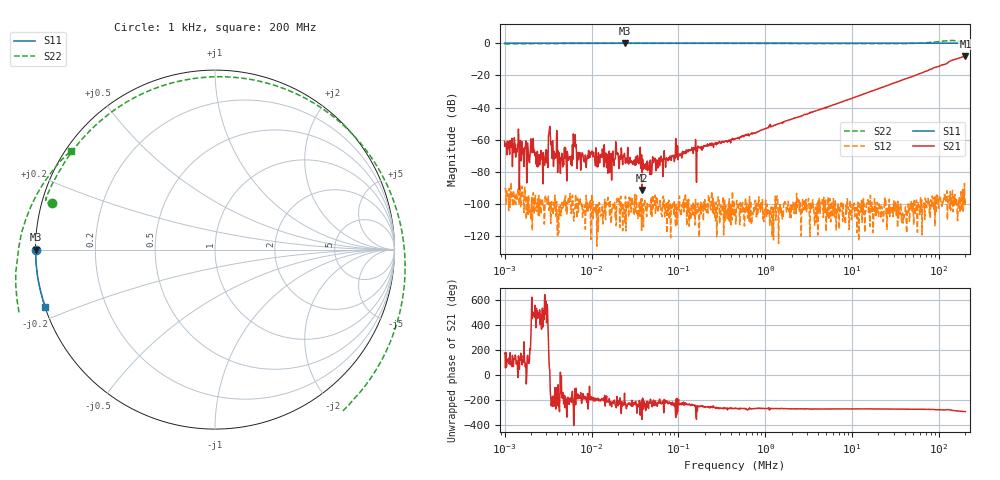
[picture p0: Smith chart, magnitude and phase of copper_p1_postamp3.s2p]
! ListType=Log
# MHZ S RI R 50
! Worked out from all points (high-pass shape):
!   1000 points, 1 kHz to 200 MHz, reference 50 ohm
!   highest |S21| = -8.03 dB at 200 MHz (marker M1); lowest = -91.1 dB at 38.13 kHz (marker M2)
!   |S21| within 3 dB of the highest: 134.5 MHz to end of sweep
!   lowest |S11| = 0.0 dB at 23.97 kHz (marker M3), VSWR 595.47, Z = 0.084 - j0.0171 ohm
!   |S11| at or under -10 dB: nowhere
!   |S22| runs from -0.5 to 1.7 dB; largest |S21 - S12| = 0.4
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0.001  -0.9974 -0.000346  -0.000888 0.000131  -1.15e-05 -2.99e-05  -0.9089 0.26
0.0015716  -0.9978 -0.000534  -0.000789 0.000427  1.26e-05 -2.11e-05  -0.9196 0.2572
0.0021071  -0.9978 -0.000467  -0.000182 0.000351  -1.04e-05 -3.3e-06  -0.927 0.2585
0.0028599  -0.9979 -0.000497  -0.000142 8.86e-05  -2.2e-06 1e-06  -0.9334 0.2619
0.0033934  -0.9978 -0.000453  -0.000701 -3.7e-05  1.4e-06 2.1e-06  -0.9363 0.2643
0.0036964  -0.9977 -0.000276  -0.000138 0.000418  -1.14e-05 7e-07  -0.9372 0.2658
0.0044945  -0.9979 -8.58e-05  0.000268 -3.84e-05  -6.5e-06 -3.4e-06  -0.9395 0.2686
0.0057386  -0.998 -0.000256  -0.000187 0.000123  3.6e-06 -1.55e-05  -0.9412 0.2721
0.006251  -0.9979 -0.000326  0.000565 -0.000588  -3e-06 -2e-07  -0.9415 0.2733
0.0076941  -0.9981 -5.6e-05  -0.000215 0.000252  -2.1e-06 8.4e-06  -0.9422 0.2759
0.0239689  -0.9966 -0.000681  -0.000321 -0.000202  -3.4e-06 -2.8e-06  -0.9432 0.2849
0.0381319  -0.9981 -6.83e-05  2.79e-05 1.2e-06  -9e-07 -1.48e-05  -0.9415 0.2865
0.0584804  -0.9981 -0.000166  -0.000114 9.38e-05  1.1e-06 -7.5e-06  -0.9406 0.2882
0.4499541  -0.998 -0.000813  -5.77e-05 0.0011  1.8e-06 7.1e-06  -0.9349 0.303
3.419952  -0.9982 -0.00569  0.000613 0.0071  -1.8e-06 -7.2e-06  -0.8867 0.4028
26.31347  -0.9981 -0.0431  0.00392 0.0504  3.6e-06 -3.5e-06  -0.3118 0.9064
50.9003  -0.996 -0.0827  0.00998 0.0949  -1e-07 -2.3e-06  0.4925 0.8486
81.97236  -0.9908 -0.1323  0.0209 0.1552  5.3e-06 -7.1e-06  1.057 -0.0223
103.3922  -0.9854 -0.1663  0.0343 0.1979  -9.6e-06 -1.12e-05  0.8402 -0.7545
128.8255  -0.9769 -0.2064  0.0473 0.2564  -1.25e-05 -1.01e-05  0.0311 -1.195
164.4859  -0.9629 -0.262  0.1185 0.313  4.6e-06 -3.3e-06  -1.028 -0.5582
200  -0.9462 -0.3179  0.1713 0.358  -1.29e-05 -6.6e-06  -0.8026 0.5506
